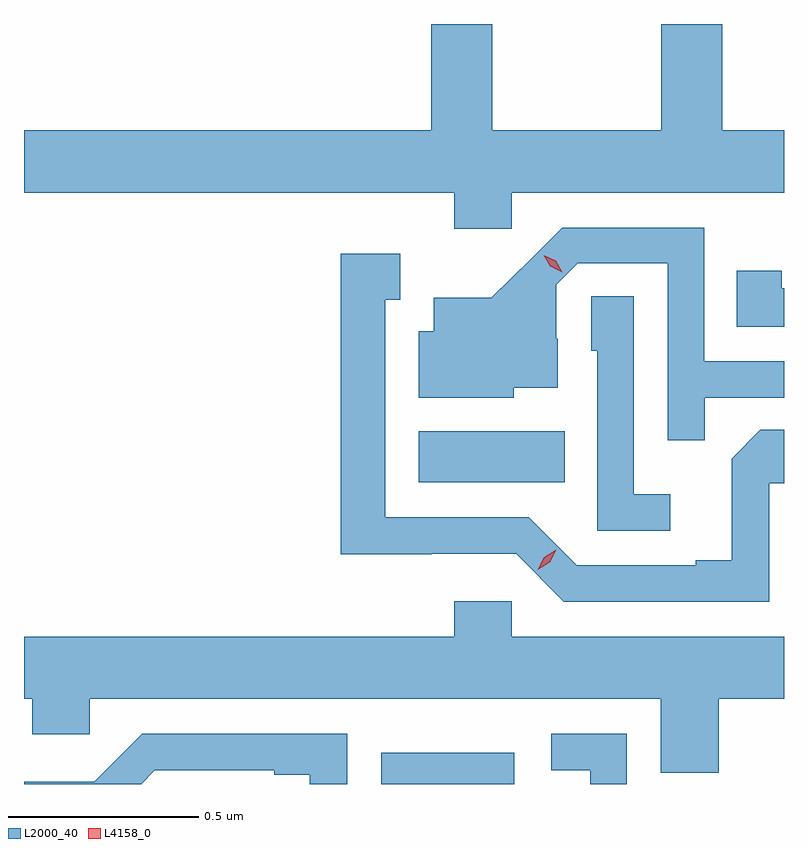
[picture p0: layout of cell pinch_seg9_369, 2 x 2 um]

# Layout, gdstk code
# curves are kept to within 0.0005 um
import gdstk
lib = gdstk.Library(unit=1e-6, precision=1e-09)
def R(c, l, rs):  # rectangles x0, y0, x1, y1
    for r in rs: c.add(gdstk.rectangle(r[:2], r[2:], *l))
def P(c, l, *ps):  # polygons
    for p in ps: c.add(gdstk.Polygon(p, *l))
L2000_40 = (2000, 40)
L4158_0 = (4158, 0)

pinch_seg9_369 = lib.new_cell('pinch_seg9_369')
R(pinch_seg9_369, L2000_40, [(610.799,1189.536,611.149,1189.618), (610.898,1190.33,611.282,1190.464)])
P(pinch_seg9_369, L2000_40, [(611.142,1191.092),(611.859,1191.092),(611.859,1191.256),(611.696,1191.256),(611.696,1191.536),(611.536,1191.536),(611.536,1191.256),(611.091,1191.256),(611.091,1191.536),(610.931,1191.536),(610.931,1191.256),(609.859,1191.256),(609.859,1191.092),(610.991,1191.092),(610.991,1190.997),(611.142,1190.997)],
  [(611.651,1190.553),(611.859,1190.553),(611.859,1190.649),(611.649,1190.649),(611.649,1191),(611.276,1191),(611.089,1190.815),(610.937,1190.815),(610.937,1190.728),(610.898,1190.728),(610.898,1190.552),(611.148,1190.552),(611.148,1190.579),(611.263,1190.579),(611.263,1190.708),(611.259,1190.708),(611.259,1190.85),(611.316,1190.907),(611.553,1190.907),(611.553,1190.44),(611.651,1190.44)],
  [(611.82,1190.328),(611.859,1190.328),(611.859,1190.468),(611.797,1190.468),(611.721,1190.392),(611.721,1190.125),(611.627,1190.125),(611.627,1190.112),(611.313,1190.112),(611.187,1190.238),(610.81,1190.238),(610.81,1190.811),(610.849,1190.811),(610.849,1190.932),(610.692,1190.932),(610.692,1190.141),(610.932,1190.141),(610.932,1190.142),(611.154,1190.142),(611.28,1190.016),(611.82,1190.016)],
  [(611.859,1190.84),(611.853,1190.84),(611.853,1190.887),(611.734,1190.887),(611.734,1190.739),(611.859,1190.739)],
  [(611.56,1190.299),(611.463,1190.299),(611.463,1190.819),(611.352,1190.819),(611.352,1190.676),(611.367,1190.676),(611.367,1190.202),(611.56,1190.202)],
  [(611.687,1189.76),(611.859,1189.76),(611.859,1189.924),(611.142,1189.924),(611.142,1190.017),(610.991,1190.017),(610.991,1189.924),(609.859,1189.924),(609.859,1189.76),(609.881,1189.76),(609.881,1189.667),(610.032,1189.667),(610.032,1189.76),(611.534,1189.76),(611.534,1189.566),(611.687,1189.566)],
  [(610.203,1189.572),(610.517,1189.572),(610.517,1189.56),(610.611,1189.56),(610.611,1189.536),(610.71,1189.536),(610.71,1189.668),(610.17,1189.668),(610.044,1189.542),(609.859,1189.542),(609.859,1189.536),(610.167,1189.536)],
  [(611.445,1189.668),(611.247,1189.668),(611.247,1189.572),(611.349,1189.572),(611.349,1189.536),(611.445,1189.536)])
P(pinch_seg9_369, L4158_0, [(611.276,1190.883),(611.244,1190.898),(611.227,1190.927),(611.227,1190.928),(611.227,1190.928),(611.258,1190.913),(611.276,1190.883),(611.276,1190.883)],
  [(611.211,1190.1),(611.211,1190.1),(611.228,1190.133),(611.259,1190.153),(611.259,1190.153),(611.259,1190.152),(611.242,1190.119),(611.211,1190.1)])

lib.write_gds('pinch_seg9_369.gds')
